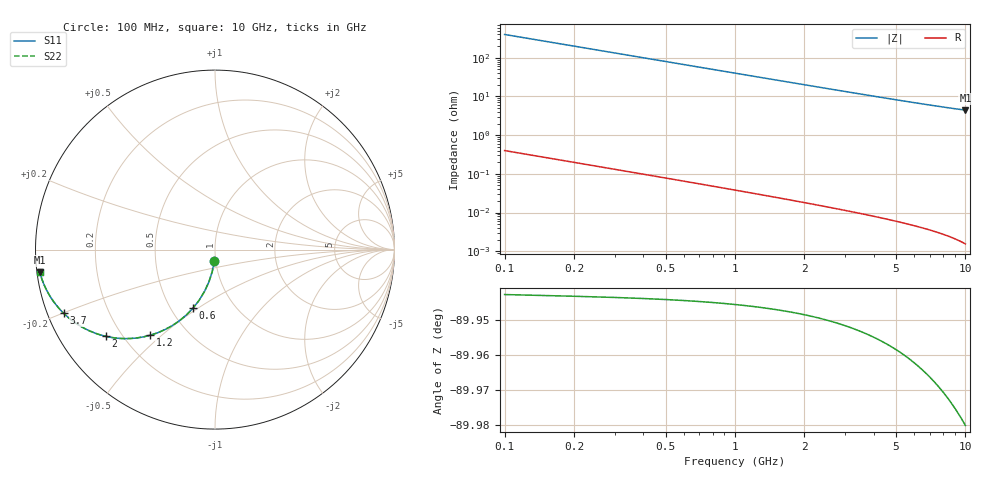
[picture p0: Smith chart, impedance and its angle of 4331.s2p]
# Hz S RI R 50.00
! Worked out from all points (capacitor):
!   100 points, 100 MHz to 10 GHz, reference 50 ohm
!   read as one part in shunt: C = 3.97 pF near 100 MHz
!   lowest |Z| = 4.43 ohm at 10 GHz (marker M1)
!   S11 on the Smith chart (normalised r, x): 100 MHz: 0.98, -0.12; 600 MHz: 0.64, -0.48; 1.2 GHz: 0.31, -0.46; 2 GHz: 0.14, -0.34; 3.7 GHz: 0.05, -0.20; 10 GHz: 0.01, -0.06
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1e8  -0.00384 -0.062  0.9959 -0.0624  0.9959 -0.0624  -0.00384 -0.062
2e8  -0.0154 -0.1225  0.9844 -0.1234  0.9844 -0.1234  -0.0154 -0.1225
3e8  -0.034 -0.1802  0.9658 -0.1815  0.9658 -0.1815  -0.034 -0.1802
4e8  -0.0588 -0.2341  0.941 -0.2358  0.941 -0.2358  -0.0588 -0.2341
5e8  -0.0889 -0.2832  0.9109 -0.2854  0.9109 -0.2854  -0.0889 -0.2832
6e8  -0.1232 -0.327  0.8766 -0.3296  0.8766 -0.3296  -0.1232 -0.327
7e8  -0.1605 -0.3651  0.8393 -0.3682  0.8393 -0.3682  -0.1605 -0.3651
9e8  -0.2401 -0.4247  0.7596 -0.4287  0.7596 -0.4287  -0.2401 -0.4247
1.2e9  -0.3597 -0.4768  0.6401 -0.4821  0.6401 -0.4821  -0.3597 -0.4768
1.5e9  -0.4674 -0.4951  0.5323 -0.5017  0.5323 -0.5017  -0.4674 -0.4951
1.8e9  -0.5583 -0.4921  0.4414 -0.5  0.4414 -0.5  -0.5583 -0.4921
2e9  -0.6095 -0.4829  0.3902 -0.4917  0.3902 -0.4917  -0.6095 -0.4829
2.3e9  -0.6738 -0.4632  0.3259 -0.4733  0.3259 -0.4733  -0.6738 -0.4632
2.6e9  -0.7254 -0.44  0.2743 -0.4515  0.2743 -0.4515  -0.7254 -0.44
3e9  -0.7788 -0.4078  0.2209 -0.4211  0.2209 -0.4211  -0.7788 -0.4078
3.4e9  -0.8191 -0.3767  0.1806 -0.3918  0.1806 -0.3918  -0.8191 -0.3767
3.7e9  -0.843 -0.3549  0.1567 -0.3713  0.1567 -0.3713  -0.843 -0.3549
4.3e9  -0.8791 -0.3157  0.1205 -0.3348  0.1205 -0.3348  -0.8791 -0.3157
5.1e9  -0.9112 -0.272  0.0882 -0.2949  0.0882 -0.2949  -0.9112 -0.272
6.7e9  -0.9471 -0.2073  0.0522 -0.2378  0.0522 -0.2378  -0.9471 -0.2073
8.4e9  -0.9661 -0.1597  0.0329 -0.1985  0.0329 -0.1985  -0.9661 -0.1597
1e10  -0.9761 -0.1264  0.0225 -0.1735  0.0225 -0.1735  -0.9761 -0.1264
